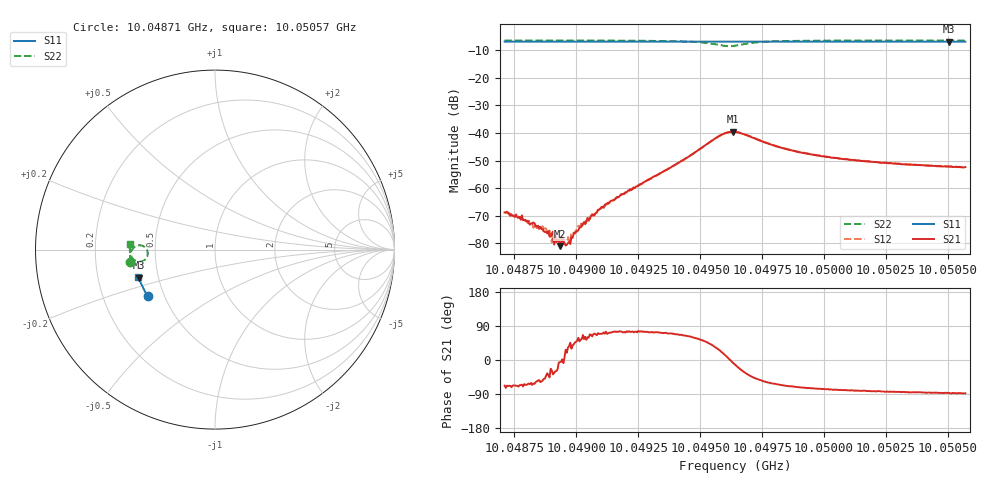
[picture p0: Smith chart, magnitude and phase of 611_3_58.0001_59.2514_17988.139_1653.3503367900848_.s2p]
#  HZ  S  RI  R  50.00
! Rohde & Schwarz Vector Network Analyzer
! Rohde-Schwarz,ZNB20-2Port,1311601062101988,3.16
! Created: UTC 3/21/2024, 1:17:45 AM
! freq[Hz]  re:S11  im:S11  re:S21  im:S21  re:S12  im:S12  re:S22  im:S22
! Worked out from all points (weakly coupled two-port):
!   401 points, 10.04871 GHz to 10.05057 GHz, reference 50 ohm
!   highest |S21| = -39.58 dB at 10.04963 GHz (marker M1); lowest = -81.1 dB at 10.04893 GHz (marker M2)
!   lowest |S11| = -6.9 dB at 10.05051 GHz (marker M3), VSWR 2.65, Z = 19.4 - j7.59 ohm
!   |S11| at or under -10 dB: nowhere
!   |S22| runs from -8.5 to -6.4 dB; largest |S21 - S12| = 0.00081
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1.004871e10  -0.3733 -0.2612  0.000138 -0.000334  0.000155 -0.000338  -0.4713 -0.0709
1.0048789e10  -0.376 -0.2568  0.000117 -0.000234  0.000141 -0.000239  -0.4718 -0.0647
1.0048845e10  -0.3782 -0.2536  0.000122 -0.000168  0.000122 -0.000152  -0.4722 -0.0604
1.0048868e10  -0.379 -0.2523  0.000106 -0.000126  0.000112 -0.000117  -0.4721 -0.0585
1.0048882e10  -0.3793 -0.2516  0.000124 -8.69e-05  0.000128 -9.59e-05  -0.4723 -0.0573
1.0048896e10  -0.3799 -0.2508  0.000121 -5.16e-05  0.000123 -7.75e-05  -0.4725 -0.0562
1.0048901e10  -0.38 -0.2505  0.000133 -7.01e-05  8.96e-05 -5.33e-05  -0.4724 -0.0558
1.0048929e10  -0.381 -0.249  0.000116 -1.39e-05  0.000109 -1.27e-05  -0.4724 -0.0536
1.0048933e10  -0.3811 -0.2487  8.81e-05 -9.16e-06  0.00012 -2.96e-06  -0.4724 -0.0533
1.0048966e10  -0.3822 -0.2469  8.46e-05 5.44e-05  0.000117 5.51e-05  -0.4725 -0.0504
1.0049022e10  -0.3841 -0.2436  0.000116 0.000168  0.000131 0.000203  -0.4726 -0.0456
1.0049124e10  -0.3876 -0.238  0.000192 0.000499  0.00013 0.000497  -0.4725 -0.036
1.0049334e10  -0.3942 -0.2258  0.00054 0.00171  0.000433 0.00177  -0.4675 -0.0112
1.0049482e10  -0.3987 -0.2169  0.00244 0.00386  0.00218 0.00397  -0.4464 0.0164
1.0049576e10  -0.4008 -0.2114  0.0078 0.00399  0.00751 0.00447  -0.3948 0.0162
1.0049631e10  -0.4021 -0.2084  0.0104 -0.00125  0.0105 -0.000452  -0.3765 -0.0337
1.0049641e10  -0.4022 -0.2079  0.0102 -0.00226  0.0104 -0.0015  -0.3799 -0.0428
1.0049813e10  -0.4078 -0.1983  0.00243 -0.00508  0.00278 -0.005  -0.4594 -0.0489
1.0049952e10  -0.4117 -0.1898  0.00106 -0.00391  0.00129 -0.0039  -0.471 -0.0262
1.0050264e10  -0.4194 -0.1708  0.000291 -0.00281  0.000471 -0.00279  -0.4752 0.00588
1.0050506e10  -0.4248 -0.1558  0.000129 -0.00246  0.000249 -0.00245  -0.4752 0.0253
1.0050571e10  -0.4262 -0.1518  9.47e-05 -0.00241  0.000212 -0.00239  -0.4748 0.0303
